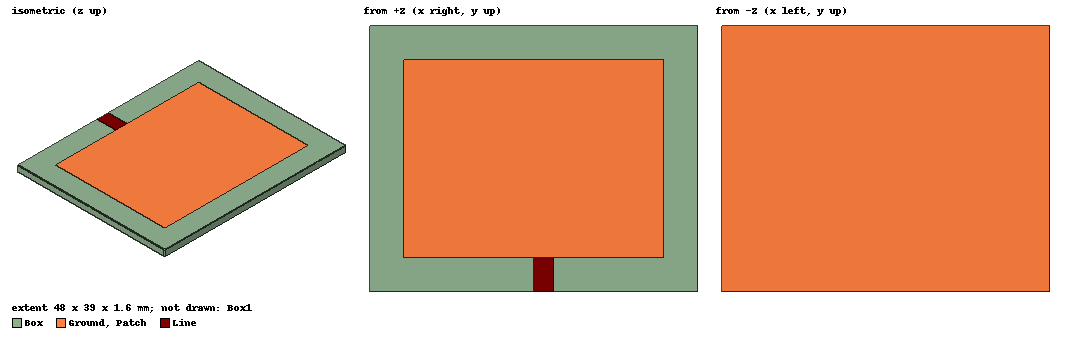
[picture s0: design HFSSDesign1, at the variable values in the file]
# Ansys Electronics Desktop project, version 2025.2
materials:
  vacuum: permittivity=1
  FR4_epoxy: permittivity=4.4 dielectric_loss_tangent=0.02

design HFSSDesign1 (HFSS, HFSS Modal Network, model units mm)
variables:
  Ws = 48mm
  Ls = 39mm
  Wp = 38mm
  Lp = 29mm
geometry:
  Ground = rectangle(corner=(-Ws/2, -Ls /2, 0mm), x_size=Ws, y_size=Ls)
  Box [FR4_epoxy] = box(corner=(-Ws/2, -Ls/2, 0mm), size=(Ws, Ls, 1.6mm))
  Patch = rectangle(corner=(-Wp/2, -Lp/2, 1.6mm), x_size=Wp, y_size=Lp)
  Line = rectangle(corner=(0mm, -19.5mm, 1.6mm), x_size=3mm, y_size=5mm)
  Rectangle1 = rectangle(corner=(0mm, -19.5mm, 1.6mm), z_size=-1.6mm, x_size=3mm)
  Box1 [vacuum] = box(corner=(-45mm, -45mm, -35mm), size=(90mm, 90mm, 70mm))
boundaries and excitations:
  PerfE1: Perfect E Objects=Ground
  PerfE2: Perfect E Objects=Patch
  PerfE3: Perfect E Objects=Line
  Rad1: Radiation Objects=Box1
  1: Lumped Port Objects=Rectangle1 LumpedPortType=Default Modes{Mode1{IntLine{(1.4, -19.5, 0) -> (1.4, -19.5, 1.6)} CharImp=Zpi}} Impedance=50ohm
  2: Lumped Port Objects=Line LumpedPortType=Default Modes{Mode1{IntLine{(1.5, -19.5, 1.6) -> (1.5, -14.5, 1.6)} CharImp=Zpi}} Impedance=50ohm
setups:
  Setup1: HfssDriven Frequency=2.4GHz MaxDeltaS=0.02 MaximumPasses=6 MinimumPasses=1 MinimumConvergedPasses=1 PercentRefinement=30 BasisOrder=1 PortAccuracy=2 DrivenSolverType="Direct Solver"
    sweep Sweep: 1GHz to 5GHz, 401 points; Type=Interpolating SaveFields InterpTolerance=0.5 InterpMaxSolns=250 InterpUsePortImped=false PassivityErrorTolerance=0.0001
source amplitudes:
  1:1: 1W 0deg
  2:1: 0W 0deg
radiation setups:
  Infinite Sphere1: Infinite Sphere Theta=0deg..180deg step 2deg Phi=-180deg..180deg step 2deg
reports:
  S Parameter Plot1: dB(S(1,1)) vs Freq on Setup1 : Sweep
  Gain Plot1: dB(GainTotal) vs Phi, Theta on Setup1 : Sweep, Infinite Sphere1 [Freq=1GHz]
  Gain Plot2: dB(GainTotal) vs Theta, Phi on Setup1 : Sweep, Infinite Sphere1 [Freq=1GHz]
  Gain Plot3: dB(GainTotal) vs Phi, Theta on Setup1 : LastAdaptive, Infinite Sphere1 [Freq=2.4GHz]
